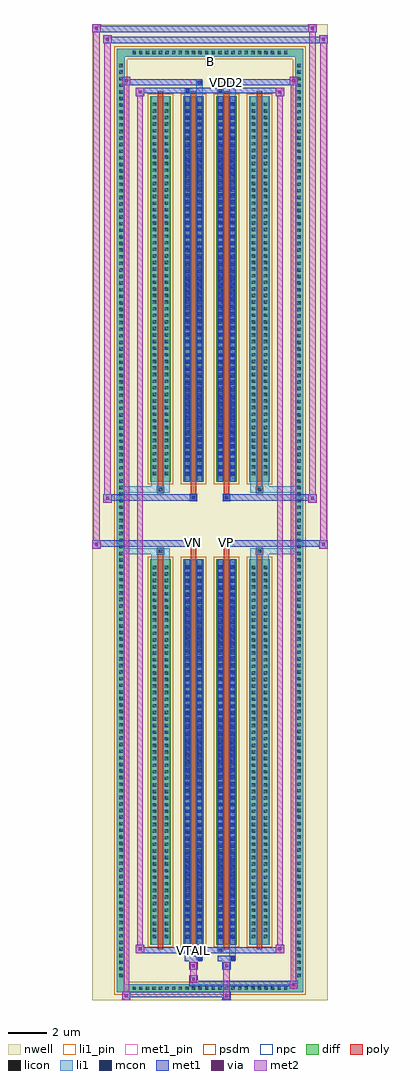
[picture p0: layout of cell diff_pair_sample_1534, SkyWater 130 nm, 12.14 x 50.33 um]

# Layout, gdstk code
import gdstk
lib = gdstk.Library(unit=1e-6, precision=5e-09)
def R(c, l, rs):  # rectangles x0, y0, x1, y1
    for r in rs: c.add(gdstk.rectangle(r[:2], r[2:], *l))
def A(c, l, x, y, w, h, nx, ny, dx, dy):  # array of equal rectangles
    R(c, l, [(x+i*dx, y+j*dy, x+i*dx+w, y+j*dy+h) for i in range(nx) for j in range(ny)])
def P(c, l, *ps):  # polygons
    for p in ps: c.add(gdstk.Polygon(p, *l))
nwell = (64, 20)
diff = (65, 20)
poly = (66, 20)
licon = (66, 44)
li1_pin = (67, 16)
li1 = (67, 20)
mcon = (67, 44)
met1_pin = (68, 16)
met1 = (68, 20)
via = (68, 44)
met2 = (69, 20)
psdm = (94, 20)
npc = (95, 20)

diff_pair_sample_1534 = lib.new_cell('diff_pair_sample_1534')
R(diff_pair_sample_1534, nwell, [(-6.07,-24.73,6.07,25.6), (-3.39,-22.92,-0.01,-0.82), (0.01,-22.92,3.39,-0.82), (-3.39,0.82,-0.01,22.92), (0.01,0.82,3.39,22.92)])
A(diff_pair_sample_1534, diff, -4.115, -24.33, 0.41, 0.41, 24, 2, 0.34, 48.25)
A(diff_pair_sample_1534, diff, -4.8, -23.665, 0.41, 0.41, 1, 139, 0, 0.34)
A(diff_pair_sample_1534, diff, 4.39, -23.665, 0.41, 0.41, 1, 139, 0, 0.34)
A(diff_pair_sample_1534, diff, -3.08, -21.875, 1.06, 19.87, 4, 2, 1.7, 23.88)
R(diff_pair_sample_1534, diff, [(-4.115,-24.33,4.115,-23.92), (-4.8,-23.665,-4.39,23.665), (4.39,-23.665,4.8,23.665), (-4.115,23.92,4.115,24.33)])
P(diff_pair_sample_1534, diff, [(4.8,24.33),(-4.8,24.33),(-4.8,-23.92),(-4.39,-23.92),(-4.39,23.92),(4.39,23.92),(4.39,-23.92),(-4.39,-23.92),(-4.8,-23.92),(-4.8,-24.33),(4.8,-24.33)])
A(diff_pair_sample_1534, poly, -2.69, -22.125, 0.28, 20.37, 4, 2, 1.7, 23.88)
R(diff_pair_sample_1534, poly, [(-2.715,-1.755,-2.385,-1.425), (-2.715,-1.755,-2.385,-1.425), (-0.99,-1.755,-0.71,-1.35), (0.71,-1.755,0.99,-1.35), (2.385,-1.755,2.715,-1.425), (2.385,-1.755,2.715,-1.425), (-1.015,-1.35,-0.685,-1.02), (-1.015,-1.35,-0.685,-1.02), (0.685,-1.35,1.015,-1.02), (0.685,-1.35,1.015,-1.02), (-1.015,1.02,-0.685,1.35), (-1.015,1.02,-0.685,1.35), (0.685,1.02,1.015,1.35), (0.685,1.02,1.015,1.35), (-0.99,1.35,-0.71,1.755), (0.71,1.35,0.99,1.755), (-2.715,1.425,-2.385,1.755), (-2.715,1.425,-2.385,1.755), (2.385,1.425,2.715,1.755), (2.385,1.425,2.715,1.755)])
A(diff_pair_sample_1534, licon, -3.995, -24.21, 0.17, 0.17, 24, 2, 0.34, 48.25)
A(diff_pair_sample_1534, licon, -4.68, -23.545, 0.17, 0.17, 1, 139, 0, 0.34)
A(diff_pair_sample_1534, licon, 4.51, -23.545, 0.17, 0.17, 1, 139, 0, 0.34)
A(diff_pair_sample_1534, licon, -2.94, -21.545, 0.17, 0.17, 1, 57, 0, 0.34)
A(diff_pair_sample_1534, licon, -2.33, -21.545, 0.17, 0.17, 1, 57, 0, 0.34)
A(diff_pair_sample_1534, licon, -1.24, -21.545, 0.17, 0.17, 1, 57, 0, 0.34)
A(diff_pair_sample_1534, licon, -0.63, -21.545, 0.17, 0.17, 1, 57, 0, 0.34)
A(diff_pair_sample_1534, licon, 0.46, -21.545, 0.17, 0.17, 1, 57, 0, 0.34)
A(diff_pair_sample_1534, licon, 1.07, -21.545, 0.17, 0.17, 1, 57, 0, 0.34)
A(diff_pair_sample_1534, licon, 2.16, -21.545, 0.17, 0.17, 1, 57, 0, 0.34)
A(diff_pair_sample_1534, licon, 2.77, -21.545, 0.17, 0.17, 1, 57, 0, 0.34)
A(diff_pair_sample_1534, licon, -2.94, 2.335, 0.17, 0.17, 1, 57, 0, 0.34)
A(diff_pair_sample_1534, licon, -2.33, 2.335, 0.17, 0.17, 1, 57, 0, 0.34)
A(diff_pair_sample_1534, licon, -1.24, 2.335, 0.17, 0.17, 1, 57, 0, 0.34)
A(diff_pair_sample_1534, licon, -0.63, 2.335, 0.17, 0.17, 1, 57, 0, 0.34)
A(diff_pair_sample_1534, licon, 0.46, 2.335, 0.17, 0.17, 1, 57, 0, 0.34)
A(diff_pair_sample_1534, licon, 1.07, 2.335, 0.17, 0.17, 1, 57, 0, 0.34)
A(diff_pair_sample_1534, licon, 2.16, 2.335, 0.17, 0.17, 1, 57, 0, 0.34)
A(diff_pair_sample_1534, licon, 2.77, 2.335, 0.17, 0.17, 1, 57, 0, 0.34)
R(diff_pair_sample_1534, licon, [(-2.635,-1.675,-2.465,-1.505), (2.465,-1.675,2.635,-1.505), (-0.935,-1.27,-0.765,-1.1), (0.765,-1.27,0.935,-1.1), (-0.935,1.1,-0.765,1.27), (0.765,1.1,0.935,1.27), (-2.635,1.505,-2.465,1.675), (2.465,1.505,2.635,1.675)])
R(diff_pair_sample_1534, li1_pin, [(-0.25,23.42,0.25,23.92)])
A(diff_pair_sample_1534, li1, -4.075, -24.29, 0.33, 0.33, 24, 2, 0.34, 48.25)
A(diff_pair_sample_1534, li1, -4.76, -23.625, 0.33, 0.33, 1, 139, 0, 0.34)
A(diff_pair_sample_1534, li1, 4.43, -23.625, 0.33, 0.33, 1, 139, 0, 0.34)
A(diff_pair_sample_1534, li1, -3.02, -21.625, 0.33, 0.33, 1, 57, 0, 0.34)
A(diff_pair_sample_1534, li1, -2.41, -21.625, 0.33, 0.33, 1, 57, 0, 0.34)
A(diff_pair_sample_1534, li1, -1.32, -21.625, 0.33, 0.33, 1, 57, 0, 0.34)
A(diff_pair_sample_1534, li1, -0.71, -21.625, 0.33, 0.33, 1, 57, 0, 0.34)
A(diff_pair_sample_1534, li1, 0.38, -21.625, 0.33, 0.33, 1, 57, 0, 0.34)
A(diff_pair_sample_1534, li1, 0.99, -21.625, 0.33, 0.33, 1, 57, 0, 0.34)
A(diff_pair_sample_1534, li1, 2.08, -21.625, 0.33, 0.33, 1, 57, 0, 0.34)
A(diff_pair_sample_1534, li1, 2.69, -21.625, 0.33, 0.33, 1, 57, 0, 0.34)
A(diff_pair_sample_1534, li1, -1.24, -21.565, 0.17, 0.17, 1, 54, 0, 0.36)
A(diff_pair_sample_1534, li1, -0.63, -21.565, 0.17, 0.17, 1, 54, 0, 0.36)
A(diff_pair_sample_1534, li1, 0.46, -21.565, 0.17, 0.17, 1, 54, 0, 0.36)
A(diff_pair_sample_1534, li1, 1.07, -21.565, 0.17, 0.17, 1, 54, 0, 0.36)
A(diff_pair_sample_1534, li1, -3.02, 2.255, 0.33, 0.33, 1, 57, 0, 0.34)
A(diff_pair_sample_1534, li1, -2.41, 2.255, 0.33, 0.33, 1, 57, 0, 0.34)
A(diff_pair_sample_1534, li1, -1.32, 2.255, 0.33, 0.33, 1, 57, 0, 0.34)
A(diff_pair_sample_1534, li1, -0.71, 2.255, 0.33, 0.33, 1, 57, 0, 0.34)
A(diff_pair_sample_1534, li1, 0.38, 2.255, 0.33, 0.33, 1, 57, 0, 0.34)
A(diff_pair_sample_1534, li1, 0.99, 2.255, 0.33, 0.33, 1, 57, 0, 0.34)
A(diff_pair_sample_1534, li1, 2.08, 2.255, 0.33, 0.33, 1, 57, 0, 0.34)
A(diff_pair_sample_1534, li1, 2.69, 2.255, 0.33, 0.33, 1, 57, 0, 0.34)
A(diff_pair_sample_1534, li1, -1.24, 2.315, 0.17, 0.17, 1, 54, 0, 0.36)
A(diff_pair_sample_1534, li1, -0.63, 2.315, 0.17, 0.17, 1, 54, 0, 0.36)
A(diff_pair_sample_1534, li1, 0.46, 2.315, 0.17, 0.17, 1, 54, 0, 0.36)
A(diff_pair_sample_1534, li1, 1.07, 2.315, 0.17, 0.17, 1, 54, 0, 0.36)
R(diff_pair_sample_1534, li1, [(-4.8,-24.33,-4.39,-23.92), (-4.8,-24.33,-4.39,-23.92), (-4.39,-24.33,4.39,-23.92), (4.39,-24.33,4.8,-23.92), (4.39,-24.33,4.8,-23.92), (-4.8,-23.92,-4.39,23.92), (4.39,-23.92,4.8,23.92), (-0.71,-22.68,-0.38,-21.875), (-0.63,-22.68,-0.46,-22.51), (0.99,-22.68,1.32,-21.875), (1.07,-22.68,1.24,-22.51), (-1.32,-22.25,-0.99,-21.875), (-1.24,-22.25,-1.07,-22.08), (0.38,-22.25,0.71,-21.875), (0.46,-22.25,0.63,-22.08), (-3.02,-21.875,-2.69,-2.005), (-2.41,-21.875,-2.08,-2.005), (-1.32,-21.875,-0.99,-2.005), (-0.71,-21.875,-0.38,-2.005), (0.38,-21.875,0.71,-2.005), (0.99,-21.875,1.32,-2.005), (2.08,-21.875,2.41,-2.005), (2.69,-21.875,3.02,-2.005), (-1.24,-21.565,-1.07,-2.315), (-0.63,-21.565,-0.46,-2.315), (0.46,-21.565,0.63,-2.315), (1.07,-21.565,1.24,-2.315), (-3.02,-2.005,-2.69,-1.425), (-2.41,-2.005,-2.08,-1.425), (2.08,-2.005,2.41,-1.425), (2.69,-2.005,3.02,-1.425), (-4.8,-1.755,-2.715,-1.425), (-3.02,-1.755,-2.715,-1.425), (-2.715,-1.755,-2.385,-1.425), (-2.385,-1.755,-2.08,-1.425), (2.08,-1.755,2.385,-1.425), (2.385,-1.755,2.715,-1.425), (2.385,-1.755,4.8,-1.425), (2.715,-1.755,3.02,-1.425), (-1.015,-1.35,-0.685,-1.02), (0.685,-1.35,1.015,-1.02), (-1.015,1.02,-0.685,1.35), (0.685,1.02,1.015,1.35), (-4.8,1.425,-2.715,1.755), (-3.02,1.425,-2.715,1.755), (-3.02,1.425,-2.69,2.005), (-2.715,1.425,-2.385,1.755), (-2.41,1.425,-2.08,2.005), (-2.385,1.425,-2.08,1.755), (2.08,1.425,2.385,1.755), (2.08,1.425,2.41,2.005), (2.385,1.425,2.715,1.755), (2.385,1.425,4.8,1.755), (2.69,1.425,3.02,2.005), (2.715,1.425,3.02,1.755), (-3.02,2.005,-2.69,21.875), (-2.41,2.005,-2.08,21.875), (-1.32,2.005,-0.99,21.875), (-0.71,2.005,-0.38,21.875), (0.38,2.005,0.71,21.875), (0.99,2.005,1.32,21.875), (2.08,2.005,2.41,21.875), (2.69,2.005,3.02,21.875), (-1.24,2.315,-1.07,21.565), (-0.63,2.315,-0.46,21.565), (0.46,2.315,0.63,21.565), (1.07,2.315,1.24,21.565), (-1.32,21.875,-0.99,22.25), (-0.71,21.875,-0.38,22.68), (0.38,21.875,0.71,22.25), (0.99,21.875,1.32,22.68), (-1.24,22.08,-1.07,22.25), (0.46,22.08,0.63,22.25), (-0.63,22.51,-0.46,22.68), (1.07,22.51,1.24,22.68), (-4.8,23.92,-4.39,24.33), (-4.8,23.92,-4.39,24.33), (-4.39,23.92,4.39,24.33), (4.39,23.92,4.8,24.33), (4.39,23.92,4.8,24.33)])
A(diff_pair_sample_1534, mcon, -1.24, -21.565, 0.17, 0.17, 1, 54, 0, 0.36)
A(diff_pair_sample_1534, mcon, -0.63, -21.565, 0.17, 0.17, 1, 54, 0, 0.36)
A(diff_pair_sample_1534, mcon, 0.46, -21.565, 0.17, 0.17, 1, 54, 0, 0.36)
A(diff_pair_sample_1534, mcon, 1.07, -21.565, 0.17, 0.17, 1, 54, 0, 0.36)
A(diff_pair_sample_1534, mcon, -1.24, 2.315, 0.17, 0.17, 1, 54, 0, 0.36)
A(diff_pair_sample_1534, mcon, -0.63, 2.315, 0.17, 0.17, 1, 54, 0, 0.36)
A(diff_pair_sample_1534, mcon, 0.46, 2.315, 0.17, 0.17, 1, 54, 0, 0.36)
A(diff_pair_sample_1534, mcon, 1.07, 2.315, 0.17, 0.17, 1, 54, 0, 0.36)
R(diff_pair_sample_1534, mcon, [(-0.63,-22.68,-0.46,-22.51), (1.07,-22.68,1.24,-22.51), (-1.24,-22.25,-1.07,-22.08), (0.46,-22.25,0.63,-22.08), (-0.935,-1.27,-0.765,-1.1), (0.765,-1.27,0.935,-1.1), (-0.935,1.1,-0.765,1.27), (0.765,1.1,0.935,1.27), (-1.24,22.08,-1.07,22.25), (0.46,22.08,0.63,22.25), (-0.63,22.51,-0.46,22.68), (1.07,22.51,1.24,22.68)])
R(diff_pair_sample_1534, met1_pin, [(-0.985,-22.29,-0.715,-22.02), (-0.985,-1.29,-0.715,-1.02), (0.715,-1.29,0.985,-1.02), (-0.985,22.47,-0.715,22.74), (0.715,22.47,0.985,22.74)])
A(diff_pair_sample_1534, met1, -1.3, -21.625, 0.29, 0.29, 1, 54, 0, 0.36)
A(diff_pair_sample_1534, met1, -0.69, -21.625, 0.29, 0.29, 1, 54, 0, 0.36)
A(diff_pair_sample_1534, met1, 0.4, -21.625, 0.29, 0.29, 1, 54, 0, 0.36)
A(diff_pair_sample_1534, met1, 1.01, -21.625, 0.29, 0.29, 1, 54, 0, 0.36)
A(diff_pair_sample_1534, met1, -1.3, 2.255, 0.29, 0.29, 1, 54, 0, 0.36)
A(diff_pair_sample_1534, met1, -0.69, 2.255, 0.29, 0.29, 1, 54, 0, 0.36)
A(diff_pair_sample_1534, met1, 0.4, 2.255, 0.29, 0.29, 1, 54, 0, 0.36)
A(diff_pair_sample_1534, met1, 1.01, 2.255, 0.29, 0.29, 1, 54, 0, 0.36)
R(diff_pair_sample_1534, met1, [(-4.53,-24.73,-4.1,-24.3), (0.635,-24.73,1.065,-24.3), (-4.53,-24.59,1.065,-24.3), (4.1,-24.16,4.53,-23.73), (-1.065,-24.02,4.53,-23.73), (-1.065,-23.88,-0.635,-23.45), (-1.065,-23.17,-0.635,-22.74), (0.635,-23.17,1.065,-22.74), (-1.3,-22.74,-0.4,-22.45), (-0.69,-22.74,-0.4,-22.45), (0.4,-22.74,1.3,-22.45), (1.01,-22.74,1.3,-22.45), (-3.82,-22.31,-3.39,-21.88), (-3.82,-22.31,-1.3,-22.02), (-1.3,-22.31,-1.01,-22.02), (-1.3,-22.31,-0.4,-22.02), (-0.4,-22.31,0.4,-22.02), (0.4,-22.31,0.69,-22.02), (0.4,-22.31,1.3,-22.02), (1.3,-22.31,3.82,-22.02), (3.39,-22.31,3.82,-21.88), (-1.3,-21.875,-1.01,-2.005), (-0.69,-21.875,-0.4,-2.005), (0.4,-21.875,0.69,-2.005), (1.01,-21.875,1.3,-2.005), (-6.07,-1.45,-5.64,-1.02), (5.64,-1.45,6.07,-1.02), (-6.07,-1.35,-0.685,-1.02), (-1.015,-1.35,-0.685,-1.02), (0.685,-1.35,1.015,-1.02), (0.685,-1.35,6.07,-1.02), (-0.995,-1.33,-0.705,-1.04), (0.705,-1.33,0.995,-1.04), (-5.5,0.92,-5.07,1.35), (5.07,0.92,5.5,1.35), (-5.5,1.02,-1.015,1.35), (-1.015,1.02,-0.685,1.35), (0.685,1.02,1.015,1.35), (1.015,1.02,5.5,1.35), (-0.995,1.04,-0.705,1.33), (0.705,1.04,0.995,1.33), (-1.3,2.005,-1.01,21.875), (-0.69,2.005,-0.4,21.875), (0.4,2.005,0.69,21.875), (1.01,2.005,1.3,21.875), (-3.82,21.88,-3.39,22.31), (3.39,21.88,3.82,22.31), (-3.82,22.02,-1.3,22.31), (-1.3,22.02,-1.01,22.31), (-1.3,22.02,-0.4,22.31), (-0.4,22.02,0.4,22.31), (0.4,22.02,0.69,22.31), (0.4,22.02,1.3,22.31), (1.3,22.02,3.82,22.31), (-4.53,22.45,-4.1,22.88), (-4.53,22.45,-1.3,22.74), (-1.3,22.45,-0.4,22.74), (-0.69,22.45,-0.4,22.74), (0.4,22.45,1.3,22.74), (1.01,22.45,1.3,22.74), (1.3,22.45,4.53,22.74), (4.1,22.45,4.53,22.88), (-5.5,24.6,-5.07,25.03), (-5.5,24.6,-3.39,24.93), (-3.39,24.6,3.39,24.93), (3.39,24.6,6.07,24.93), (5.64,24.6,6.07,25.03), (-6.07,25.17,-5.64,25.6), (-6.07,25.17,-3.39,25.5), (-3.39,25.17,3.39,25.5), (3.39,25.17,5.5,25.5), (5.07,25.17,5.5,25.6)])
R(diff_pair_sample_1534, via, [(-4.39,-24.59,-4.24,-24.44), (0.775,-24.59,0.925,-24.44), (4.24,-24.02,4.39,-23.87), (-0.925,-23.74,-0.775,-23.59), (-0.925,-23.03,-0.775,-22.88), (0.775,-23.03,0.925,-22.88), (-3.68,-22.17,-3.53,-22.02), (3.53,-22.17,3.68,-22.02), (-5.93,-1.31,-5.78,-1.16), (5.78,-1.31,5.93,-1.16), (-5.36,1.06,-5.21,1.21), (5.21,1.06,5.36,1.21), (-3.68,22.02,-3.53,22.17), (3.53,22.02,3.68,22.17), (-4.39,22.59,-4.24,22.74), (4.24,22.59,4.39,22.74), (-5.36,24.74,-5.21,24.89), (5.78,24.74,5.93,24.89), (-5.93,25.31,-5.78,25.46), (5.21,25.31,5.36,25.46)])
R(diff_pair_sample_1534, met2, [(-4.53,-24.73,-4.1,-24.3), (-4.46,-24.73,-4.17,22.88), (-4.17,-24.73,-4.1,-24.3), (-4.48,-24.68,-4.15,-24.35), (0.685,-24.68,1.015,-24.35), (0.685,-24.35,1.015,-23.12), (4.1,-24.16,4.53,-23.73), (4.17,-24.16,4.46,22.88), (4.46,-24.16,4.53,-23.73), (4.15,-24.11,4.48,-23.78), (-1.015,-23.83,-0.685,-23.5), (-1.015,-23.5,-0.685,-23.12), (-1.015,-23.12,-0.685,-22.79), (0.685,-23.12,1.015,-22.79), (-3.82,-22.31,-3.39,-21.88), (-3.75,-22.31,-3.46,22.31), (-3.46,-22.31,-3.39,-21.88), (3.39,-22.31,3.82,-21.88), (3.46,-22.31,3.75,22.31), (3.75,-22.31,3.82,-21.88), (-3.77,-22.26,-3.44,-21.93), (3.44,-22.26,3.77,-21.93), (-6.07,-1.45,-5.64,-1.02), (-6.02,-1.45,-5.69,25.6), (-5.69,-1.45,-5.64,-1.02), (5.64,-1.45,6.07,-1.02), (5.69,-1.45,6.02,25.03), (6.02,-1.45,6.07,-1.02), (-6.02,-1.4,-5.69,-1.07), (5.69,-1.4,6.02,-1.07), (-5.5,0.92,-5.07,1.35), (-5.45,0.92,-5.12,25.03), (-5.12,0.92,-5.07,1.35), (5.07,0.92,5.5,1.35), (5.12,0.92,5.45,25.6), (5.45,0.92,5.5,1.35), (-5.45,0.97,-5.12,1.3), (5.12,0.97,5.45,1.3), (-3.82,21.88,-3.39,22.31), (-3.46,21.88,-3.39,22.31), (3.39,21.88,3.82,22.31), (3.75,21.88,3.82,22.31), (-3.77,21.93,-3.44,22.26), (3.44,21.93,3.77,22.26), (-4.53,22.45,-4.1,22.88), (-4.17,22.45,-4.1,22.88), (4.1,22.45,4.53,22.88), (4.46,22.45,4.53,22.88), (-4.48,22.5,-4.15,22.83), (4.15,22.5,4.48,22.83), (-5.5,24.6,-5.07,25.03), (-5.12,24.6,-5.07,25.03), (5.64,24.6,6.07,25.03), (6.02,24.6,6.07,25.03), (-5.45,24.65,-5.12,24.98), (5.69,24.65,6.02,24.98), (-6.07,25.17,-5.64,25.6), (-5.69,25.17,-5.64,25.6), (5.07,25.17,5.5,25.6), (5.45,25.17,5.5,25.6), (-6.02,25.22,-5.69,25.55), (5.12,25.22,5.45,25.55)])
A(diff_pair_sample_1534, psdm, -3.21, -22.005, 1.32, 20.13, 4, 2, 1.7, 23.88)
P(diff_pair_sample_1534, psdm, [(4.93,24.46),(-4.93,24.46),(-4.93,-23.79),(-4.26,-23.79),(-4.26,23.79),(4.26,23.79),(4.26,-23.79),(-4.26,-23.79),(-4.93,-23.79),(-4.93,-24.46),(4.93,-24.46)])
R(diff_pair_sample_1534, npc, [(-2.735,-1.775,-2.365,-1.405), (2.365,-1.775,2.735,-1.405), (-1.035,-1.37,-0.665,-1), (0.665,-1.37,1.035,-1), (-1.035,1,-0.665,1.37), (0.665,1,1.035,1.37), (-2.735,1.405,-2.365,1.775), (2.365,1.405,2.735,1.775)])
diff_pair_sample_1534.add(gdstk.Label('VTAIL', (-0.85,-22.155), layer=68, texttype=5))
diff_pair_sample_1534.add(gdstk.Label('VN', (-0.85,-1.155), layer=68, texttype=5))
diff_pair_sample_1534.add(gdstk.Label('VP', (0.85,-1.155), layer=68, texttype=5))
diff_pair_sample_1534.add(gdstk.Label('B', (0,23.67), layer=67, texttype=5))
diff_pair_sample_1534.add(gdstk.Label('VDD2', (0.85,22.605), layer=68, texttype=5))
diff_pair_sample_1534.add(gdstk.Label('VDD1', (-0.85,22.605), layer=68, texttype=5))

lib.write_gds('diff_pair_sample_1534.gds')
